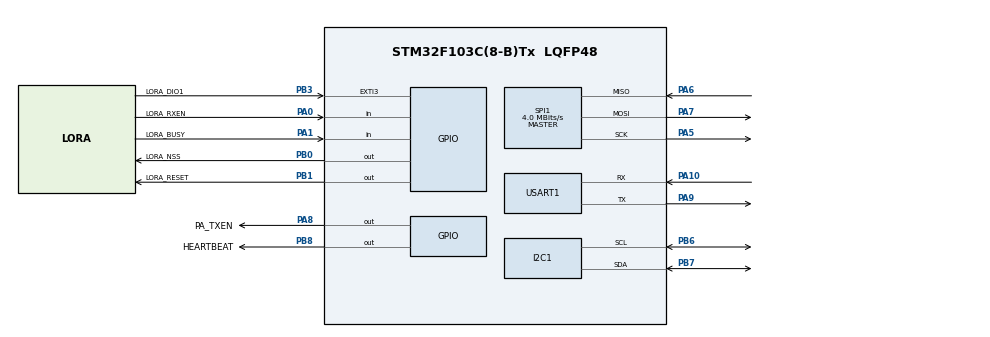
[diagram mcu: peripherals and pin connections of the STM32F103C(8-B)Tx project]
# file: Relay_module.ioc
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Mcu.Family=STM32F1
Mcu.Name=STM32F103C(8-B)Tx
Mcu.Package=LQFP48
NVIC.EXTI3_IRQn=true\:0\:0\:false\:false\:true\:true\:true\:true
NVIC.PriorityGroup=NVIC_PRIORITYGROUP_4
NVIC.TIM2_IRQn=true\:0\:0\:false\:false\:true\:true\:true\:true
PA0-WKUP.GPIO_Label=LORA_RXEN
PA0-WKUP.Signal=GPIO_Input
PA1.GPIO_Label=LORA_BUSY
PA1.Signal=GPIO_Input
PA10.Mode=Asynchronous
PA10.Signal=USART1_RX
PA13.Mode=Serial_Wire
PA13.Signal=SYS_JTMS-SWDIO
PA14.Mode=Serial_Wire
PA14.Signal=SYS_JTCK-SWCLK
PA5.Mode=Full_Duplex_Master
PA5.Signal=SPI1_SCK
PA6.Mode=Full_Duplex_Master
PA6.Signal=SPI1_MISO
PA7.Mode=Full_Duplex_Master
PA7.Signal=SPI1_MOSI
PA8.GPIO_Label=PA_TXEN
PA8.Signal=GPIO_Output
PA9.Mode=Asynchronous
PA9.Signal=USART1_TX
PB0.GPIO_Label=LORA_NSS
PB0.Signal=GPIO_Output
PB1.GPIO_Label=LORA_RESET
PB1.Signal=GPIO_Output
PB3.GPIO_Label=LORA_DIO1
PB3.Signal=GPXTI3
PB6.Mode=I2C
PB6.Signal=I2C1_SCL
PB7.Mode=I2C
PB7.Signal=I2C1_SDA
PB8.GPIO_Label=HEARTBEAT
PB8.Signal=GPIO_Output
ProjectManager.HeapSize=0x200
ProjectManager.StackSize=0x400
ProjectManager.TargetToolchain=STM32CubeIDE
RCC.APB1Freq_Value=8000000
RCC.APB2Freq_Value=8000000
SPI1.CalculateBaudRate=4.0 MBits/s
SPI1.Direction=SPI_DIRECTION_2LINES
SPI1.Mode=SPI_MODE_MASTER
SPI1.VirtualType=VM_MASTER
TIM2.Period=9999
TIM2.Prescaler=7199
USART1.VirtualMode=VM_ASYNC
VP_TIM2_VS_ClockSourceINT.Mode=Internal
board=custom

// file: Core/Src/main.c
/* USER CODE BEGIN Header */
/**
  ******************************************************************************
  * @file           : main.c
  * @brief          : Main program body
  ******************************************************************************
  * @attention
  *
  * Copyright (c) 2026 STMicroelectronics.
  * All rights reserved.
  *
  * This software is licensed under terms that can be found in the LICENSE file
  * in the root directory of this software component.
  * If no LICENSE file comes with this software, it is provided AS-IS.
  *
  ******************************************************************************
  */
/* USER CODE END Header */
#include "main.h"

/* USER CODE BEGIN Includes */
#include "radio.h"
#include <string.h>
#include <stdio.h>
/* USER CODE END Includes */

I2C_HandleTypeDef hi2c1;

SPI_HandleTypeDef hspi1;

TIM_HandleTypeDef htim2;

UART_HandleTypeDef huart1;

/* USER CODE BEGIN PV */
uint8_t rx_buf[LORA_MAX_PKT_SIZE];
uint8_t rx_len = 0;
uint8_t lora_rx_flag = 0;

int16_t rssi_node_a = 0;
int16_t rssi_node_b = 0;
uint8_t nodes_connected = 0;

uint32_t last_status_time = 0;
uint32_t heartbeat_time = 0;
uint8_t heartbeat_state = 0;

char uart_buf[128];
/* USER CODE END PV */

void SystemClock_Config(void);
static void MX_GPIO_Init(void);
static void MX_I2C1_Init(void);
static void MX_SPI1_Init(void);
static void MX_TIM2_Init(void);
static void MX_USART1_UART_Init(void);

int main(void)
{

  /* MCU Configuration--------------------------------------------------------*/

  /* Reset of all peripherals, Initializes the Flash interface and the Systick. */
  HAL_Init();

  /* Configure the system clock */
  SystemClock_Config();

  /* Initialize all configured peripherals */
  MX_GPIO_Init();
  MX_I2C1_Init();
  MX_SPI1_Init();
  MX_TIM2_Init();
  MX_USART1_UART_Init();
  /* USER CODE BEGIN 2 */
  if (LoRa_Init() == 0)
  {
      /* LoRa init failed — flash LED fast */
      while(1)
      {
          HAL_GPIO_TogglePin(HEARTBEAT_GPIO_Port, HEARTBEAT_Pin);
          HAL_Delay(100);
      }
  }

  /* Start TIM2 for heartbeat */
  HAL_TIM_Base_Start_IT(&htim2);

  /* Start receiving */
  LoRa_StartReceive();

  /* Send RELAY_READY message */
  snprintf(uart_buf, sizeof(uart_buf),
      "RELAY_READY:freq=868:nodes=0:rssi_a=0:rssi_b=0\r\n");
  HAL_UART_Transmit(&huart1, (uint8_t*)uart_buf, strlen(uart_buf), HAL_MAX_DELAY);
  /* USER CODE END 2 */

  /* Infinite loop */
  /* USER CODE BEGIN WHILE */
  while (1)
  {
	  /* Check if LoRa packet received */
	    if (lora_rx_flag)
	    {
	        lora_rx_flag = 0;

	        /* Get RSSI of received packet */
	        int16_t rssi = LoRa_GetRSSI();

	        /* Simple node identification:
	           Node A packets start with 'A', Node B with 'B' */
	        if (rx_len > 0)
	        {
	            if (rx_buf[0] == 'A')
	            {
	                rssi_node_a = rssi;
	                if (nodes_connected < 2) nodes_connected++;
	                /* Relay to Node B */
	                LoRa_Send(rx_buf, rx_len);
	                LoRa_StartReceive();

	                /* Notify Pi */
	                snprintf(uart_buf, sizeof(uart_buf),
	                    "RELAY_NODE:id=A:rssi=%d\r\n", rssi_node_a);
	                HAL_UART_Transmit(&huart1, (uint8_t*)uart_buf,
	                    strlen(uart_buf), HAL_MAX_DELAY);
	            }
	            else if (rx_buf[0] == 'B')
	            {
	                rssi_node_b = rssi;
	                if (nodes_connected < 2) nodes_connected++;
	                /* Relay to Node A */
	                LoRa_Send(rx_buf, rx_len);
	                LoRa_StartReceive();

	                /* Notify Pi */
	                snprintf(uart_buf, sizeof(uart_buf),
	                    "RELAY_NODE:id=B:rssi=%d\r\n", rssi_node_b);
	                HAL_UART_Transmit(&huart1, (uint8_t*)uart_buf,
	                    strlen(uart_buf), HAL_MAX_DELAY);
	            }
	        }
	    }

	    /* Send status every 2 seconds */
	    if (HAL_GetTick() - last_status_time >= 2000)
	    {
	        last_status_time = HAL_GetTick();
	        snprintf(uart_buf, sizeof(uart_buf),
	            "RELAY_STATUS:freq=868:nodes=%d:rssi_a=%d:rssi_b=%d\r\n",
	            nodes_connected, rssi_node_a, rssi_node_b);
	        HAL_UART_Transmit(&huart1, (uint8_t*)uart_buf,
	            strlen(uart_buf), HAL_MAX_DELAY);
	    }
    /* USER CODE END WHILE */

  }
}

void SystemClock_Config(void)
{
  RCC_OscInitTypeDef RCC_OscInitStruct = {0};
  RCC_ClkInitTypeDef RCC_ClkInitStruct = {0};

  /** Initializes the RCC Oscillators according to the specified parameters
  * in the RCC_OscInitTypeDef structure.
  */
  RCC_OscInitStruct.OscillatorType = RCC_OSCILLATORTYPE_HSI;
  RCC_OscInitStruct.HSIState = RCC_HSI_ON;
  RCC_OscInitStruct.HSICalibrationValue = RCC_HSICALIBRATION_DEFAULT;
  RCC_OscInitStruct.PLL.PLLState = RCC_PLL_NONE;
  if (HAL_RCC_OscConfig(&RCC_OscInitStruct) != HAL_OK)
  {
    Error_Handler();
  }

  /** Initializes the CPU, AHB and APB buses clocks
  */
  RCC_ClkInitStruct.ClockType = RCC_CLOCKTYPE_HCLK|RCC_CLOCKTYPE_SYSCLK
                              |RCC_CLOCKTYPE_PCLK1|RCC_CLOCKTYPE_PCLK2;
  RCC_ClkInitStruct.SYSCLKSource = RCC_SYSCLKSOURCE_HSI;
  RCC_ClkInitStruct.AHBCLKDivider = RCC_SYSCLK_DIV1;
  RCC_ClkInitStruct.APB1CLKDivider = RCC_HCLK_DIV1;
  RCC_ClkInitStruct.APB2CLKDivider = RCC_HCLK_DIV1;

  if (HAL_RCC_ClockConfig(&RCC_ClkInitStruct, FLASH_LATENCY_0) != HAL_OK)
  {
    Error_Handler();
  }
}

static void MX_I2C1_Init(void)
{

  hi2c1.Instance = I2C1;
  hi2c1.Init.ClockSpeed = 100000;
  hi2c1.Init.DutyCycle = I2C_DUTYCYCLE_2;
  hi2c1.Init.OwnAddress1 = 0;
  hi2c1.Init.AddressingMode = I2C_ADDRESSINGMODE_7BIT;
  hi2c1.Init.DualAddressMode = I2C_DUALADDRESS_DISABLE;
  hi2c1.Init.OwnAddress2 = 0;
  hi2c1.Init.GeneralCallMode = I2C_GENERALCALL_DISABLE;
  hi2c1.Init.NoStretchMode = I2C_NOSTRETCH_DISABLE;
  if (HAL_I2C_Init(&hi2c1) != HAL_OK)
  {
    Error_Handler();
  }

}

static void MX_SPI1_Init(void)
{

  /* SPI1 parameter configuration*/
  hspi1.Instance = SPI1;
  hspi1.Init.Mode = SPI_MODE_MASTER;
  hspi1.Init.Direction = SPI_DIRECTION_2LINES;
  hspi1.Init.DataSize = SPI_DATASIZE_8BIT;
  hspi1.Init.CLKPolarity = SPI_POLARITY_LOW;
  hspi1.Init.CLKPhase = SPI_PHASE_1EDGE;
  hspi1.Init.NSS = SPI_NSS_SOFT;
  hspi1.Init.BaudRatePrescaler = SPI_BAUDRATEPRESCALER_2;
  hspi1.Init.FirstBit = SPI_FIRSTBIT_MSB;
  hspi1.Init.TIMode = SPI_TIMODE_DISABLE;
  hspi1.Init.CRCCalculation = SPI_CRCCALCULATION_DISABLE;
  hspi1.Init.CRCPolynomial = 10;
  if (HAL_SPI_Init(&hspi1) != HAL_OK)
  {
    Error_Handler();
  }

}

static void MX_TIM2_Init(void)
{

  TIM_ClockConfigTypeDef sClockSourceConfig = {0};
  TIM_MasterConfigTypeDef sMasterConfig = {0};

  htim2.Instance = TIM2;
  htim2.Init.Prescaler = 7199;
  htim2.Init.CounterMode = TIM_COUNTERMODE_UP;
  htim2.Init.Period = 9999;
  htim2.Init.ClockDivision = TIM_CLOCKDIVISION_DIV1;
  htim2.Init.AutoReloadPreload = TIM_AUTORELOAD_PRELOAD_DISABLE;
  if (HAL_TIM_Base_Init(&htim2) != HAL_OK)
  {
    Error_Handler();
  }
  sClockSourceConfig.ClockSource = TIM_CLOCKSOURCE_INTERNAL;
  if (HAL_TIM_ConfigClockSource(&htim2, &sClockSourceConfig) != HAL_OK)
  {
    Error_Handler();
  }
  sMasterConfig.MasterOutputTrigger = TIM_TRGO_RESET;
  sMasterConfig.MasterSlaveMode = TIM_MASTERSLAVEMODE_DISABLE;
  if (HAL_TIMEx_MasterConfigSynchronization(&htim2, &sMasterConfig) != HAL_OK)
  {
    Error_Handler();
  }

}

static void MX_USART1_UART_Init(void)
{

  huart1.Instance = USART1;
  huart1.Init.BaudRate = 115200;
  huart1.Init.WordLength = UART_WORDLENGTH_8B;
  huart1.Init.StopBits = UART_STOPBITS_1;
  huart1.Init.Parity = UART_PARITY_NONE;
  huart1.Init.Mode = UART_MODE_TX_RX;
  huart1.Init.HwFlowCtl = UART_HWCONTROL_NONE;
  huart1.Init.OverSampling = UART_OVERSAMPLING_16;
  if (HAL_UART_Init(&huart1) != HAL_OK)
  {
    Error_Handler();
  }

}

static void MX_GPIO_Init(void)
{
  GPIO_InitTypeDef GPIO_InitStruct = {0};

  /* GPIO Ports Clock Enable */
  __HAL_RCC_GPIOA_CLK_ENABLE();
  __HAL_RCC_GPIOB_CLK_ENABLE();

  /*Configure GPIO pin Output Level */
  HAL_GPIO_WritePin(GPIOB, LORA_NSS_Pin|LORA_RESET_Pin|HEARTBEAT_Pin, GPIO_PIN_RESET);

  /*Configure GPIO pin Output Level */
  HAL_GPIO_WritePin(PA_TXEN_GPIO_Port, PA_TXEN_Pin, GPIO_PIN_RESET);

  /*Configure GPIO pins : LORA_RXEN_Pin LORA_BUSY_Pin */
  GPIO_InitStruct.Pin = LORA_RXEN_Pin|LORA_BUSY_Pin;
  GPIO_InitStruct.Mode = GPIO_MODE_INPUT;
  GPIO_InitStruct.Pull = GPIO_NOPULL;
  HAL_GPIO_Init(GPIOA, &GPIO_InitStruct);

  /*Configure GPIO pins : LORA_NSS_Pin LORA_RESET_Pin HEARTBEAT_Pin */
  GPIO_InitStruct.Pin = LORA_NSS_Pin|LORA_RESET_Pin|HEARTBEAT_Pin;
  GPIO_InitStruct.Mode = GPIO_MODE_OUTPUT_PP;
  GPIO_InitStruct.Pull = GPIO_NOPULL;
  GPIO_InitStruct.Speed = GPIO_SPEED_FREQ_LOW;
  HAL_GPIO_Init(GPIOB, &GPIO_InitStruct);

  /*Configure GPIO pin : PA_TXEN_Pin */
  GPIO_InitStruct.Pin = PA_TXEN_Pin;
  GPIO_InitStruct.Mode = GPIO_MODE_OUTPUT_PP;
  GPIO_InitStruct.Pull = GPIO_NOPULL;
  GPIO_InitStruct.Speed = GPIO_SPEED_FREQ_LOW;
  HAL_GPIO_Init(PA_TXEN_GPIO_Port, &GPIO_InitStruct);

  /*Configure GPIO pin : LORA_DIO1_Pin */
  GPIO_InitStruct.Pin = LORA_DIO1_Pin;
  GPIO_InitStruct.Mode = GPIO_MODE_IT_RISING;
  GPIO_InitStruct.Pull = GPIO_NOPULL;
  HAL_GPIO_Init(LORA_DIO1_GPIO_Port, &GPIO_InitStruct);

  /* EXTI interrupt init*/
  HAL_NVIC_SetPriority(EXTI3_IRQn, 0, 0);
  HAL_NVIC_EnableIRQ(EXTI3_IRQn);

}

/* USER CODE BEGIN 4 */
/* DIO0 interrupt — LoRa packet received */
void HAL_GPIO_EXTI_Callback(uint16_t GPIO_Pin)
{
    if (GPIO_Pin == GPIO_PIN_3)
    {
        if (LoRa_Receive(rx_buf, &rx_len))
        {
            lora_rx_flag = 1;
        }
    }
}

/* TIM2 interrupt — 1Hz heartbeat */
void HAL_TIM_PeriodElapsedCallback(TIM_HandleTypeDef *htim)
{
    if (htim->Instance == TIM2)
    {
        heartbeat_state = !heartbeat_state;
        HAL_GPIO_WritePin(HEARTBEAT_GPIO_Port, HEARTBEAT_Pin,
            heartbeat_state ? GPIO_PIN_SET : GPIO_PIN_RESET);
    }
}
/* USER CODE END 4 */

void Error_Handler(void)
{
  __disable_irq();
  while (1)
  {
  }
}
